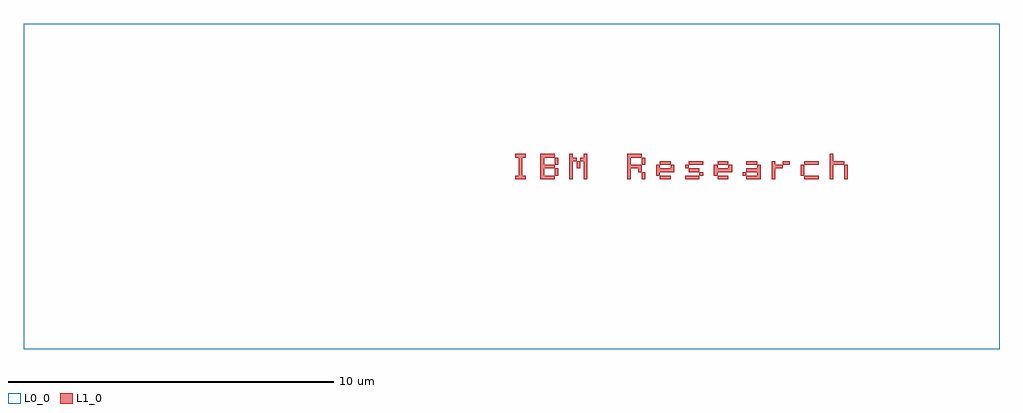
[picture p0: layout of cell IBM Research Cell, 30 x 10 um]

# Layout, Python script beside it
import gdspy

# Parse the user's design specifications
rectangle_size = (30, 10)  # in mm
text_string = "IBM Research"
text_layer = 1
rectangle_layer = 0

# Define the library and cell for the GDS layout
lib = gdspy.GdsLibrary()
cell = lib.new_cell("IBM Research Cell")

# Create a rectangle with precise coordinates
rectangle = gdspy.Rectangle((-rectangle_size[0]/2, -rectangle_size[1]/2), 
                            (rectangle_size[0]/2, rectangle_size[1]/2), 
                            layer=rectangle_layer)

# Add the rectangle to the cell
cell.add(rectangle)

# Create a text label at the center of the rectangle
text = gdspy.Text(text_string, 
                  size=1,  # in mm
                  position=(0, 0),  # at the center of the rectangle
                  layer=text_layer)

# Add the text to the cell
cell.add(text)

# Save the design to a GDS file
lib.write_gds("ibm_research_layout.gds")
